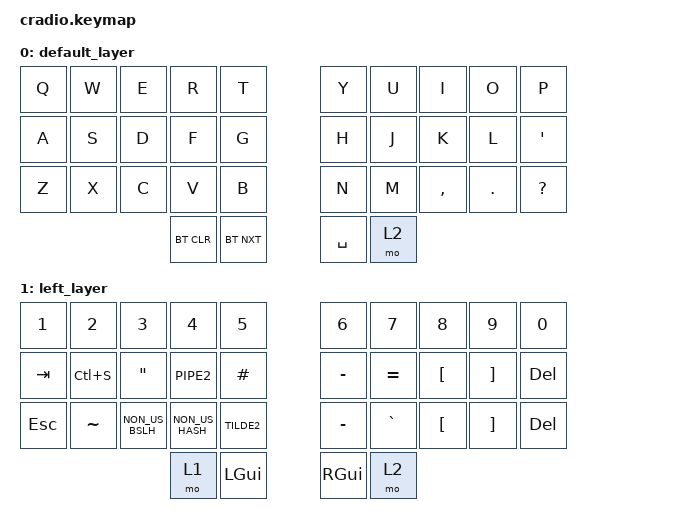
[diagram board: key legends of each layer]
/*
 * Copyright (c) 2020 The ZMK Contributors
 *
 * SPDX-License-Identifier: MIT
 */

#include <behaviors.dtsi>
#include <dt-bindings/zmk/keys.h>
#include <dt-bindings/zmk/bt.h>

&mt {
  //  flavor = "tap-preferred";
   // tapping_term_ms = <200>;
};

&sl {
  release-after-ms = <5000>;
};

/ {


        keymap {
                compatible = "zmk,keymap";

       		default_layer {
		bindings = <
		&kp Q &kp W &kp E &kp R &kp T 						&kp Y &kp U  &kp I    &kp O   &kp P
		&kp A &kp S &kp D &kp F &kp G 			        	        &kp H &kp J &kp K &kp L &kp QUOT
		&kp Z &kp X &kp C &kp V &kp B				        &kp N &kp M  &kp CMMA &kp DOT &kp QUESTION
          				&bt BT_CLR &bt BT_NXT         &kp SPC &mo 2
		>;
		};

       		left_layer {
		bindings = <
		&kp NUM_1  &kp NUM_2    &kp NUM_3    &kp NUM_4    &kp NUM_5		&kp NUM_6 &kp NUM_7 &kp NUM_8 &kp NUM_9 &kp NUM_0
		&kp TAB    &kp LC(S)    &kp DQT      &kp PIPE2     &kp HASH 		&kp MINUS &kp EQL  &kp LBKT &kp RBKT  &kp DEL
		&kp ESC    &kp TILDE 	&kp NON_US_BSLH &kp NON_US_HASH  &kp TILDE2 	&kp MINUS &kp GRAVE &kp LBKT &kp RBKT  &kp DEL
					    &mo 1  &kp LGUI  					&kp RGUI &mo 2
		>;
		};


	};
};

